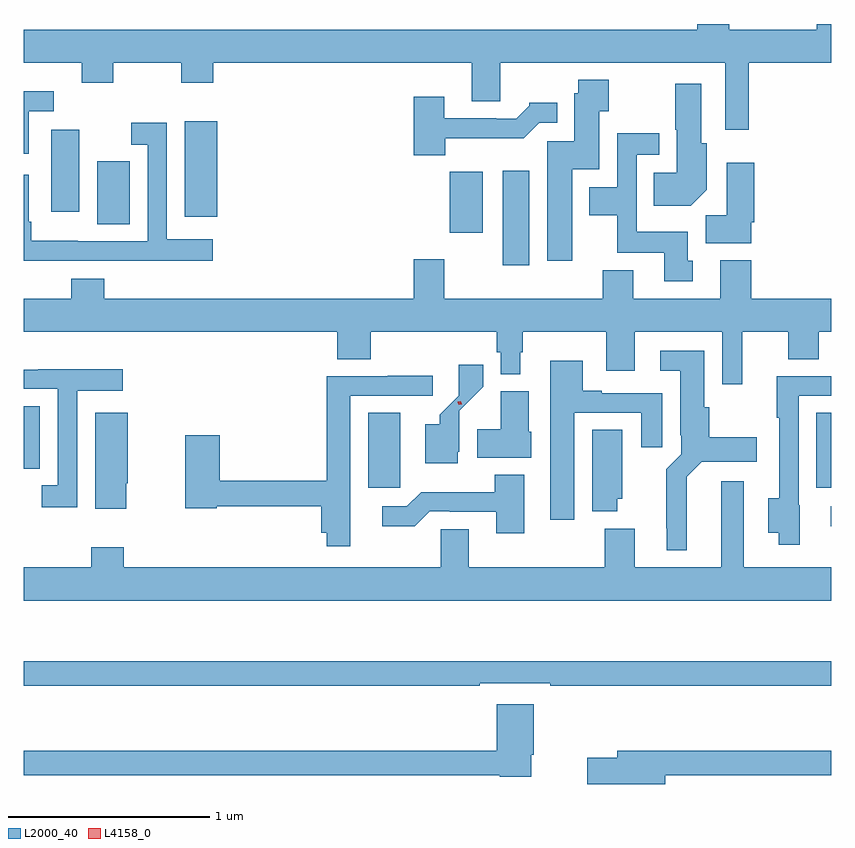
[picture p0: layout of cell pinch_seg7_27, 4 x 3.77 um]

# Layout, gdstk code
import gdstk
lib = gdstk.Library(unit=1e-6, precision=1e-09)
def R(c, l, rs):  # rectangles x0, y0, x1, y1
    for r in rs: c.add(gdstk.rectangle(r[:2], r[2:], *l))
def P(c, l, *ps):  # polygons
    for p in ps: c.add(gdstk.Polygon(p, *l))
L2000_40 = (2000, 40)
L4158_0 = (4158, 0)

pinch_seg7_27 = lib.new_cell('pinch_seg7_27')
R(pinch_seg7_27, L2000_40, [(1070.748,1068.917,1070.751,1069.014), (1068.458,1069.107,1068.616,1069.478), (1070.678,1069.107,1070.751,1069.477), (1066.751,1069.2,1066.831,1069.511), (1069.124,1070.208,1069.255,1070.677), (1067.114,1070.413,1067.275,1070.724), (1067.549,1070.448,1067.71,1070.923), (1066.886,1070.475,1067.026,1070.881)])
P(pinch_seg7_27, L2000_40, [(1070.342,1071.212),(1070.751,1071.212),(1070.751,1071.404),(1070.68,1071.404),(1070.68,1071.376),(1070.247,1071.376),(1070.247,1071.404),(1070.087,1071.404),(1070.087,1071.376),(1066.751,1071.376),(1066.751,1071.212),(1067.038,1071.212),(1067.038,1071.113),(1067.193,1071.113),(1067.193,1071.212),(1067.53,1071.212),(1067.53,1071.113),(1067.69,1071.113),(1067.69,1071.212),(1068.971,1071.212),(1068.971,1071.022),(1069.111,1071.022),(1069.111,1071.212),(1070.226,1071.212),(1070.226,1070.88),(1070.342,1070.88)],
  [(1069.468,1070.684),(1069.603,1070.684),(1069.603,1070.971),(1069.65,1070.971),(1069.65,1071.127),(1069.498,1071.127),(1069.498,1071.06),(1069.478,1071.06),(1069.478,1070.823),(1069.343,1070.823),(1069.343,1070.232),(1069.468,1070.232)],
  [(1070.134,1070.582),(1070.134,1070.814),(1070.107,1070.814),(1070.107,1071.109),(1069.979,1071.109),(1069.979,1070.88),(1069.985,1070.88),(1069.985,1070.668),(1069.873,1070.668),(1069.873,1070.504),(1070.056,1070.504)],
  [(1066.776,1070.973),(1066.9,1070.973),(1066.9,1071.07),(1066.751,1071.07),(1066.751,1070.76),(1066.776,1070.76)],
  [(1068.838,1070.838),(1069.227,1070.838),(1069.305,1070.916),(1069.393,1070.916),(1069.393,1071.013),(1069.254,1071.013),(1069.254,1070.998),(1069.19,1070.934),(1069.091,1070.934),(1069.091,1070.937),(1068.835,1070.937),(1068.835,1071.043),(1068.683,1071.043),(1068.683,1070.753),(1068.838,1070.753)],
  [(1066.901,1070.232),(1067.267,1070.232),(1067.267,1070.231),(1067.686,1070.231),(1067.686,1070.338),(1067.46,1070.338),(1067.46,1070.914),(1067.283,1070.914),(1067.283,1070.805),(1067.364,1070.805),(1067.364,1070.328),(1067.018,1070.328),(1067.018,1070.329),(1066.789,1070.329),(1066.789,1070.425),(1066.776,1070.425),(1066.776,1070.656),(1066.751,1070.656),(1066.751,1070.231),(1066.901,1070.231)],
  [(1070.065,1070.232),(1070.041,1070.232),(1070.041,1070.374),(1069.788,1070.374),(1069.788,1070.757),(1069.9,1070.757),(1069.9,1070.863),(1069.692,1070.863),(1069.692,1070.596),(1069.553,1070.596),(1069.553,1070.456),(1069.69,1070.456),(1069.69,1070.27),(1069.925,1070.27),(1069.925,1070.13),(1070.065,1070.13)],
  [(1070.356,1070.422),(1070.369,1070.422),(1070.369,1070.716),(1070.234,1070.716),(1070.234,1070.456),(1070.129,1070.456),(1070.129,1070.318),(1070.356,1070.318)],
  [(1069.024,1070.671),(1068.862,1070.671),(1068.862,1070.523),(1068.86,1070.523),(1068.86,1070.37),(1069.024,1070.37)],
  [(1067.15,1070.143),(1066.985,1070.143),(1066.985,1070.044),(1066.751,1070.044),(1066.751,1069.88),(1068.305,1069.88),(1068.305,1069.744),(1068.47,1069.744),(1068.47,1069.88),(1069.093,1069.88),(1069.093,1069.779),(1069.113,1069.779),(1069.113,1069.67),(1069.21,1069.67),(1069.21,1069.779),(1069.222,1069.779),(1069.222,1069.88),(1069.637,1069.88),(1069.637,1069.686),(1069.777,1069.686),(1069.777,1069.88),(1070.211,1069.88),(1070.211,1069.62),(1070.31,1069.62),(1070.31,1069.88),(1070.537,1069.88),(1070.537,1069.744),(1070.69,1069.744),(1070.69,1069.88),(1070.751,1069.88),(1070.751,1070.044),(1070.354,1070.044),(1070.354,1070.233),(1070.201,1070.233),(1070.201,1070.044),(1069.771,1070.044),(1069.771,1070.185),(1069.619,1070.185),(1069.619,1070.044),(1068.835,1070.044),(1068.835,1070.239),(1068.683,1070.239),(1068.683,1070.044),(1067.15,1070.044)],
  [(1070.035,1069.16),(1070.109,1069.235),(1070.383,1069.235),(1070.383,1069.357),(1070.148,1069.357),(1070.148,1069.506),(1070.122,1069.506),(1070.122,1069.786),(1069.905,1069.786),(1069.905,1069.685),(1070.003,1069.685),(1070.003,1069.366),(1070.007,1069.366),(1070.007,1069.272),(1069.933,1069.198),(1069.933,1068.907),(1069.937,1068.907),(1069.937,1068.797),(1070.035,1068.797)],
  [(1069.477,1069.479),(1069.811,1069.479),(1069.811,1069.308),(1069.915,1069.308),(1069.915,1069.575),(1069.615,1069.575),(1069.615,1069.588),(1069.519,1069.588),(1069.519,1069.735),(1069.358,1069.735),(1069.358,1068.948),(1069.477,1068.948)],
  [(1068.901,1069.284),(1068.909,1069.284),(1068.909,1069.489),(1069.028,1069.608),(1069.028,1069.717),(1068.906,1069.717),(1068.906,1069.563),(1068.812,1069.469),(1068.812,1069.42),(1068.74,1069.42),(1068.74,1069.227),(1068.901,1069.227)],
  [(1067.016,1069.586),(1067.242,1069.586),(1067.242,1069.694),(1066.823,1069.694),(1066.823,1069.692),(1066.751,1069.692),(1066.751,1069.596),(1066.92,1069.596),(1066.92,1069.119),(1066.839,1069.119),(1066.839,1069.011),(1067.016,1069.011)],
  [(1068.369,1069.563),(1068.778,1069.563),(1068.778,1069.662),(1068.553,1069.662),(1068.553,1069.659),(1068.253,1069.659),(1068.253,1069.142),(1067.723,1069.142),(1067.723,1069.366),(1067.552,1069.366),(1067.552,1069.006),(1067.706,1069.006),(1067.706,1069.014),(1068.224,1069.014),(1068.224,1068.884),(1068.253,1068.884),(1068.253,1068.816),(1068.369,1068.816)],
  [(1070.596,1069.02),(1070.589,1069.02),(1070.589,1069.563),(1070.751,1069.563),(1070.751,1069.659),(1070.481,1069.659),(1070.481,1069.453),(1070.493,1069.453),(1070.493,1069.055),(1070.438,1069.055),(1070.438,1068.884),(1070.492,1068.884),(1070.492,1068.824),(1070.596,1068.824)],
  [(1069.264,1069.383),(1069.252,1069.383),(1069.252,1069.585),(1069.115,1069.585),(1069.115,1069.396),(1068.997,1069.396),(1068.997,1069.256),(1069.264,1069.256)],
  [(1067.259,1069.128),(1067.266,1069.128),(1067.266,1069.477),(1067.105,1069.477),(1067.105,1069.002),(1067.259,1069.002)],
  [(1069.69,1069.053),(1069.717,1069.053),(1069.717,1069.394),(1069.568,1069.394),(1069.568,1068.989),(1069.69,1068.989)],
  [(1069.231,1069.171),(1069.084,1069.171),(1069.084,1069.085),(1068.719,1069.085),(1068.648,1069.014),(1068.528,1069.014),(1068.528,1068.917),(1068.689,1068.917),(1068.762,1068.99),(1068.862,1068.99),(1068.862,1068.987),(1069.091,1068.987),(1069.091,1068.882),(1069.231,1068.882)],
  [(1069.63,1068.904),(1069.63,1068.712),(1068.955,1068.712),(1068.955,1068.902),(1068.816,1068.902),(1068.816,1068.712),(1067.246,1068.712),(1067.246,1068.811),(1067.086,1068.811),(1067.086,1068.712),(1066.751,1068.712),(1066.751,1068.548),(1070.751,1068.548),(1070.751,1068.712),(1070.317,1068.712),(1070.317,1069.138),(1070.207,1069.138),(1070.207,1068.712),(1069.777,1068.712),(1069.777,1068.904)],
  [(1069.01,1068.138),(1069.36,1068.138),(1069.36,1068.126),(1070.751,1068.126),(1070.751,1068.247),(1066.751,1068.247),(1066.751,1068.126),(1069.01,1068.126)],
  [(1069.264,1067.785),(1069.277,1067.785),(1069.277,1068.034),(1069.094,1068.034),(1069.094,1067.803),(1066.751,1067.803),(1066.751,1067.682),(1069.11,1067.682),(1069.11,1067.674),(1069.264,1067.674)],
  [(1069.93,1067.682),(1070.751,1067.682),(1070.751,1067.803),(1069.691,1067.803),(1069.691,1067.769),(1069.542,1067.769),(1069.542,1067.639),(1069.93,1067.639)])
P(pinch_seg7_27, L4158_0, [(1068.905,1069.517),(1068.9,1069.531),(1068.9,1069.532),(1068.9,1069.532),(1068.915,1069.535),(1068.92,1069.521),(1068.92,1069.52),(1068.92,1069.52)])

lib.write_gds('pinch_seg7_27.gds')
